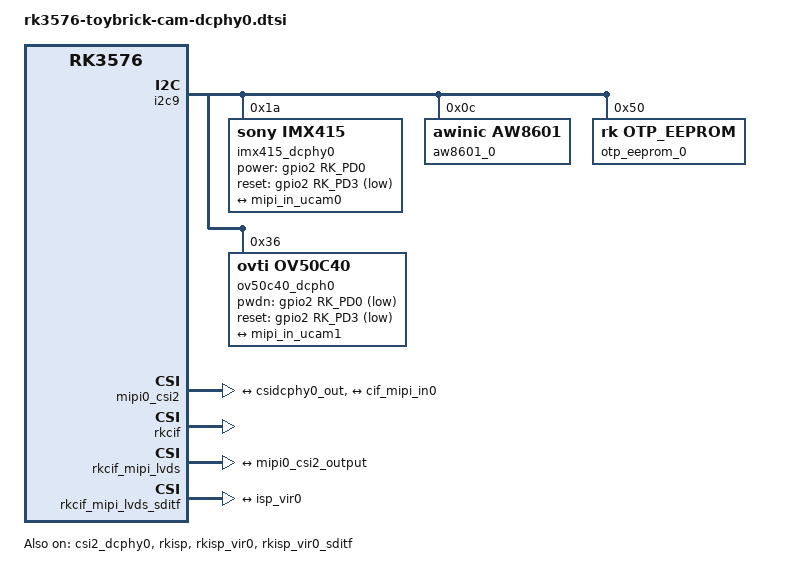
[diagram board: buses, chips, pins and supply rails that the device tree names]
// SPDX-License-Identifier: (GPL-2.0+ OR MIT)
/*
 * Copyright (c) 2024 Rockchip Electronics Co., Ltd.
 *
 */

&csi2_dcphy0 {
	status = "okay";

	ports {
		#address-cells = <1>;
		#size-cells = <0>;
		port@0 {
			reg = <0>;
			#address-cells = <1>;
			#size-cells = <0>;

			mipi_in_ucam0: endpoint@1 {
				reg = <1>;
				remote-endpoint = <&imx415_out0>;
				data-lanes = <1 2 3 4>;
			};

			mipi_in_ucam1: endpoint@2 {
				reg = <2>;
				remote-endpoint = <&ov50c40_out0>;
				data-lanes = <1 2 3 4>;
			};
		};
		port@1 {
			reg = <1>;
			#address-cells = <1>;
			#size-cells = <0>;

			csidcphy0_out: endpoint@0 {
				reg = <0>;
				remote-endpoint = <&mipi0_csi2_input>;
			};
		};
	};
};

&i2c9 {
	status = "okay";
	pinctrl-names = "default";
	pinctrl-0 = <&i2c9m2_xfer>;

	imx415_dcphy0: imx415@1a {
		compatible = "sony,imx415";
		reg = <0x1a>;
		clocks = <&cru CLK_MIPI_CAMERAOUT_M0>;
		clock-names = "xvclk";
		pinctrl-names = "default";
		pinctrl-0 = <&cam_clk0m1_clk0>;
		power-domains = <&power RK3576_PD_VI>;
		power-gpios = <&gpio2 RK_PD0 GPIO_ACTIVE_HIGH>;
		reset-gpios = <&gpio2 RK_PD3 GPIO_ACTIVE_LOW>;
		rockchip,camera-module-index = <0>;
		rockchip,camera-module-facing = "back";
		rockchip,camera-module-name = "CMK-OT2022-PX1";
		rockchip,camera-module-lens-name = "IR0147-50IRC-8M-F20";
		port {
			imx415_out0: endpoint {
				remote-endpoint = <&mipi_in_ucam0>;
				data-lanes = <1 2 3 4>;
			};
		};
	};

	aw8601_0: aw8601@c {
		compatible = "awinic,aw8601";
		status = "okay";
		reg = <0x0c>;
		rockchip,vcm-start-current = <56>;
		rockchip,vcm-rated-current = <96>;
		rockchip,vcm-step-mode = <4>;
		rockchip,camera-module-index = <0>;
		rockchip,camera-module-facing = "back";
	};

	otp_eeprom_0: otp_eeprom@50 {
		compatible = "rk,otp_eeprom";
		status = "okay";
		reg = <0x50>;
	};

	ov50c40_dcph0: ov50c40@36 {
		compatible = "ovti,ov50c40";
		reg = <0x36>;
		clocks = <&cru CLK_MIPI_CAMERAOUT_M0>;
		clock-names = "xvclk";
		power-domains = <&power RK3576_PD_VI>;
		pinctrl-names = "default";
		pinctrl-0 = <&cam_clk0m1_clk0>;
		pwdn-gpios = <&gpio2 RK_PD0 GPIO_ACTIVE_LOW>;// must be high at last
		reset-gpios = <&gpio2 RK_PD3 GPIO_ACTIVE_LOW>;// must be high at last
		rockchip,camera-module-index = <0>;
		rockchip,camera-module-facing = "back";
		rockchip,camera-module-name = "HZGA06";
		rockchip,camera-module-lens-name = "ZE0082C1-RK3568";
		eeprom-ctrl = <&otp_eeprom_0>;
		lens-focus = <&aw8601_0>;
		port {
			ov50c40_out0: endpoint {
				remote-endpoint = <&mipi_in_ucam1>;
				data-lanes = <1 2 3 4>;
			};
		};
	};
};

&mipi0_csi2 {
	status = "okay";

	ports {
		#address-cells = <1>;
		#size-cells = <0>;

		port@0 {
			reg = <0>;
			#address-cells = <1>;
			#size-cells = <0>;

			mipi0_csi2_input: endpoint@1 {
				reg = <1>;
				remote-endpoint = <&csidcphy0_out>;
			};
		};

		port@1 {
			reg = <1>;
			#address-cells = <1>;
			#size-cells = <0>;

			mipi0_csi2_output: endpoint@0 {
				reg = <0>;
				remote-endpoint = <&cif_mipi_in0>;
			};
		};
	};
};

&rkcif {
	status = "okay";
};

&rkcif_mipi_lvds {
	status = "okay";

	port {
		cif_mipi_in0: endpoint {
			remote-endpoint = <&mipi0_csi2_output>;
		};
	};
};

&rkcif_mipi_lvds_sditf {
	status = "okay";

	port {
		mipi_lvds_sditf: endpoint {
			remote-endpoint = <&isp_vir0>;
		};
	};
};

&rkcif_mmu {
	status = "okay";
};

&rkisp {
	status = "okay";
};

&rkisp_mmu {
	status = "okay";
};

&rkisp_vir0 {
	status = "okay";

	port {
		#address-cells = <1>;
		#size-cells = <0>;

		isp_vir0: endpoint@0 {
			reg = <0>;
			remote-endpoint = <&mipi_lvds_sditf>;
		};
	};
};

&rkisp_vir0_sditf {
	status = "okay";
};
